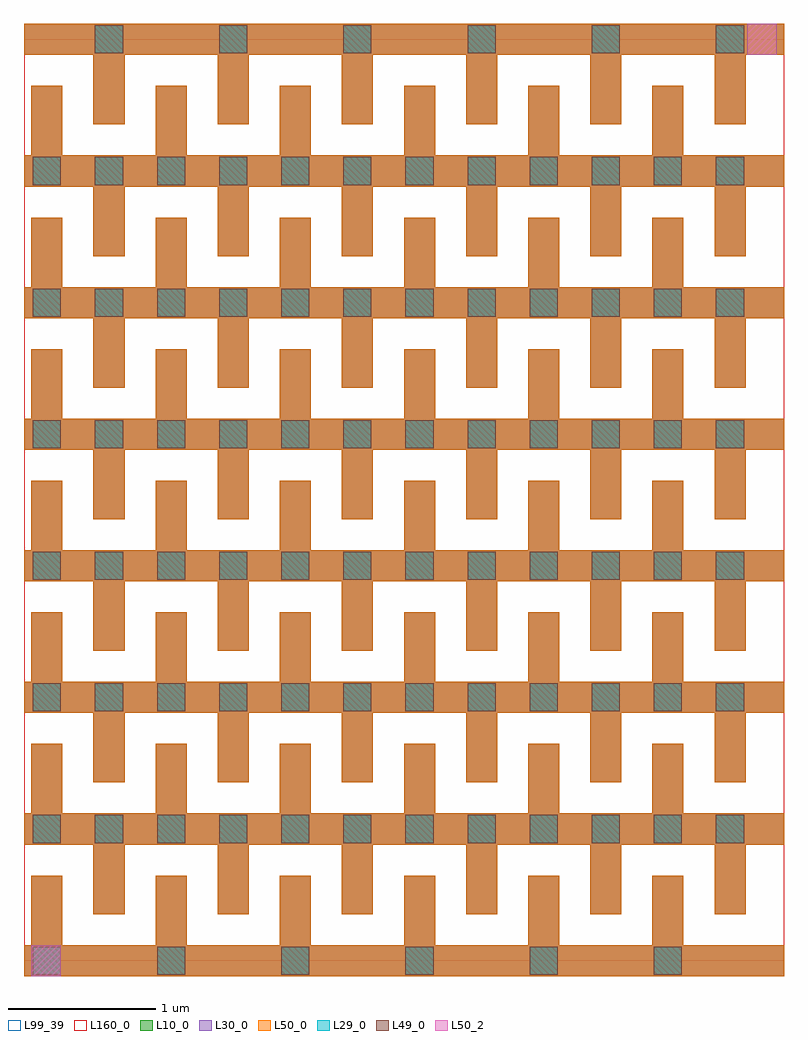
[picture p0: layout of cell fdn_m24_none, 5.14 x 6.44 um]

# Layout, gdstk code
import gdstk
lib = gdstk.Library(unit=1e-6, precision=1e-09)
def R(c, l, rs):  # rectangles x0, y0, x1, y1
    for r in rs: c.add(gdstk.rectangle(r[:2], r[2:], *l))
def A(c, l, x, y, w, h, nx, ny, dx, dy):  # array of equal rectangles
    R(c, l, [(x+i*dx, y+j*dy, x+i*dx+w, y+j*dy+h) for i in range(nx) for j in range(ny)])
L10_0 = (10, 0)
L29_0 = (29, 0)
L30_0 = (30, 0)
L49_0 = (49, 0)
L50_0 = (50, 0)
L50_2 = (50, 2)
L99_39 = (99, 39)
L160_0 = (160, 0)

fdn_m24_none = lib.new_cell('fdn_m24_none')
A(fdn_m24_none, L10_0, -0.05, -0.105, 5.14, 0.21, 1, 8, 0, 0.89)
A(fdn_m24_none, L10_0, 0, 0, 0.21, 0.575, 6, 7, 0.84, 0.89)
A(fdn_m24_none, L10_0, 0.42, 0.315, 0.21, 0.575, 6, 7, 0.84, 0.89)
A(fdn_m24_none, L29_0, 0.01, -0.095, 0.19, 0.19, 6, 1, 0.84, 0)
A(fdn_m24_none, L29_0, 0.01, 0.795, 0.19, 0.19, 12, 6, 0.42, 0.89)
A(fdn_m24_none, L29_0, 0.43, 6.135, 0.19, 0.19, 6, 1, 0.84, 0)
A(fdn_m24_none, L30_0, -0.05, -0.105, 5.14, 0.21, 1, 8, 0, 0.89)
A(fdn_m24_none, L30_0, 0, 0, 0.21, 0.575, 6, 7, 0.84, 0.89)
A(fdn_m24_none, L30_0, 0.42, 0.315, 0.21, 0.575, 6, 7, 0.84, 0.89)
A(fdn_m24_none, L49_0, 0.01, -0.095, 0.19, 0.19, 6, 1, 0.84, 0)
A(fdn_m24_none, L49_0, 0.01, 0.795, 0.19, 0.19, 12, 6, 0.42, 0.89)
A(fdn_m24_none, L49_0, 0.43, 6.135, 0.19, 0.19, 6, 1, 0.84, 0)
A(fdn_m24_none, L50_0, -0.05, -0.105, 5.14, 0.21, 1, 8, 0, 0.89)
A(fdn_m24_none, L50_0, 0, 0, 0.21, 0.575, 6, 7, 0.84, 0.89)
A(fdn_m24_none, L50_0, 0.42, 0.315, 0.21, 0.575, 6, 7, 0.84, 0.89)
R(fdn_m24_none, L50_2, [(0,-0.105,0.2,0.105), (4.84,6.125,5.04,6.335)])
R(fdn_m24_none, L99_39, [(-0.05,0,5.09,6.23)])
R(fdn_m24_none, L160_0, [(-0.05,0,5.09,6.23)])
fdn_m24_none.add(gdstk.Label('cap_cmomi C=25.747fF', (-0.05,-0.5), layer=63, texttype=0))

lib.write_gds('fdn_m24_none.gds')
